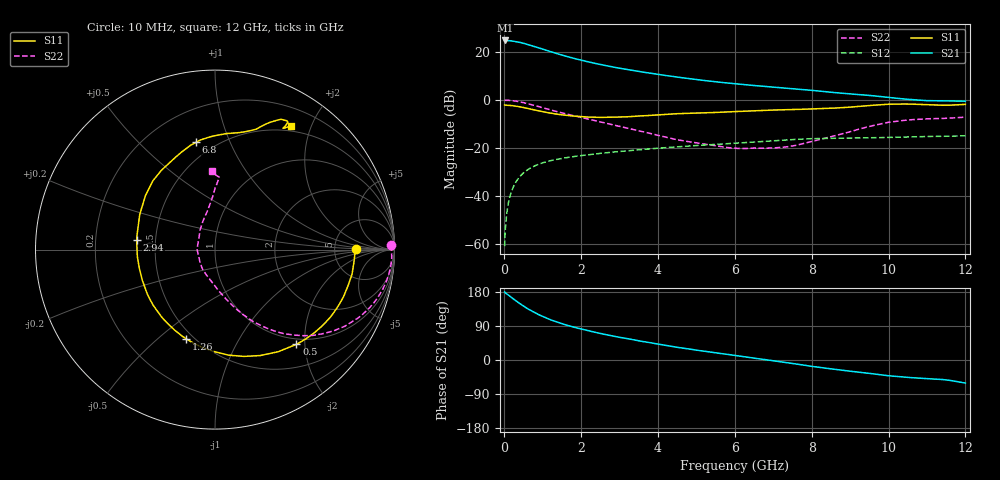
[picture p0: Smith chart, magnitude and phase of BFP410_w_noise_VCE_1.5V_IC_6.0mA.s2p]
! Infineon Technologies  Discrete & RF Semiconductors
! BFP410
! VCE =  1.5 V,  IC =  6.0 mA
! Common Emitter S-Parameters:  Nov 2015
# GHz  S  MA  R  50
!  f  S11  S21  S12  S22
! GHz  MAG  ANG  MAG  ANG  MAG  ANG  MAG  ANG
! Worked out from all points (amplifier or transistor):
!   243 points, 10 MHz to 12 GHz, reference 50 ohm
!   highest |S21| = 24.8 dB at 20 MHz (marker M1)
!   |S21| within 3 dB of that: start of sweep to 881.5 MHz
!   unconditionally stable (mu >= 1): 2.861 GHz to end of sweep
!   at 240 MHz: K = 0.11, MSG = 30.3 dB, |S12| = -36.1 dB
!   at 1.84 GHz: K = 0.70, MSG = 20.4 dB, |S12| = -23.5 dB
!   at 12 GHz: K = 1.06, MAG = 5.7 dB, |S12| = -14.9 dB
!   lowest NFmin = 1.06 dB at 900 MHz
!   S11 on the Smith chart (normalised r, x): 10 MHz: 8.28, +0.24; 500 MHz: 0.89, -1.83; 1.26 GHz: 0.46, -0.62; 2.94 GHz: 0.39, +0.05; 6.8 GHz: 0.40, +0.76; 12 GHz: 0.43, +1.70
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0.01  0.7846 0.4  17.22 179.4  0.0009 90.2  0.9827 1.4
0.02  0.7799 -1.6  17.33 178.2  0.0015 85.5  0.9832 -0.5
0.085  0.7755 -8.7  17.21 173.0  0.0056 85.8  0.9841 -4.6
0.2  0.7625 -20.3  16.93 164.1  0.0131 80.2  0.9691 -11.0
0.34  0.7359 -34.2  16.23 153.6  0.0216 73.6  0.934 -18.4
0.5  0.696 -49.3  15.16 142.4  0.0302 67.0  0.8795 -26.0
0.6  0.6693 -58.2  14.39 135.8  0.0347 63.2  0.841 -30.4
0.8  0.6166 -74.8  12.85 124.6  0.0427 57.0  0.7634 -37.8
1  0.5691 -90.2  11.44 114.8  0.049 52.0  0.6882 -44.2
1.26  0.5221 -107.8  9.829 104.1  0.0556 47.0  0.6035 -50.8
1.4  0.5018 -116.6  9.067 99.0  0.0585 44.9  0.5631 -53.7
1.6  0.4803 -127.8  8.163 92.7  0.0624 42.3  0.5135 -57.4
2.02  0.448 -148.6  6.677 81.3  0.0697 38.3  0.4299 -63.8
2.4  0.4341 -166.1  5.695 72.3  0.0758 35.2  0.3647 -69.1
2.94  0.4391 172.7  4.673 61.1  0.0835 31.6  0.2888 -76.6
4.1  0.4945 140.1  3.319 40.3  0.1002 24.5  0.1754 -97.2
5  0.5335 123.9  2.652 26.0  0.1123 18.8  0.128 -123.3
6.1  0.5757 108.6  2.136 10.7  0.1268 11.9  0.0976 -162.2
6.8  0.607 100.0  1.905 0.9  0.1377 7.1  0.0989 170.2
8.2  0.656 81.5  1.527 -19.3  0.157 -5.9  0.1491 121.3
10.2  0.8176 62.0  1.087 -43.3  0.1669 -20.2  0.3587 88.8
12  0.8081 58.5  0.942 -60.9  0.1796 -34.3  0.438 92.3
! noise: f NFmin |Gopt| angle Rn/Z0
0.45  1.09  0.2  1  0.22
0.9  1.06  0.19  15  0.18
1.8  1.21  0.13  52  0.16
2.4  1.21  0.11  50  0.19
5.5  2.12  0.32  -125  0.21
10  3.36  0.67  -51  1.79
